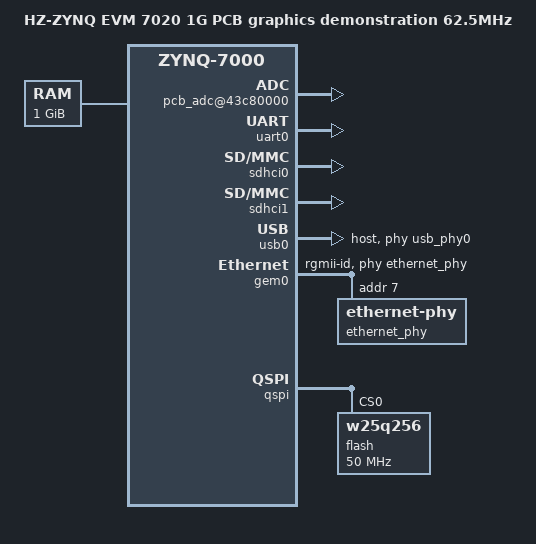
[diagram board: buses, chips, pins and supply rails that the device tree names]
/dts-v1/;
#include "zynq-7000.dtsi"

/* Independent PS + graphics + fixed HDMI + ADC design. No factory LCD/DVP graph.
 * Addresses below are from this project's validated address-map.txt.
 * Do not combine this DT with the factory bitstream or treat it as board-tested.
 */
/ {
 model = "HZ-ZYNQ EVM 7020 1G PCB graphics demonstration 62.5MHz";
 compatible = "xlnx,zynq-zc702", "xlnx,zynq-7000";
 chosen {
  bootargs = "console=ttyPS0,115200 cma=256M earlycon root=/dev/mmcblk0p2 rw rootwait";
  stdout-path = "serial0:115200n8";
 };
 aliases {ethernet0 = &gem0;serial0 = &uart0;spi0 = &qspi;};
 memory@0 {device_type = "memory";reg = <0 0x40000000>;};
 usb_phy0: phy@e0002000 {
  compatible = "ulpi-phy";#phy-cells = <0>;reg = <0xe0002000 0x1000>;
  view-port = <0x0170>;drv-vbus;
 };
 amba_pl {
  compatible = "simple-bus";#address-cells = <1>;#size-cells = <1>;ranges;
  pcb_graphics: graphics@43c00000 {
   compatible = "pcb,graphics-3.0";
   reg = <0x43c00000 0x10000>;
   interrupt-parent = <&intc>;interrupts = <0 29 4>;
   clocks = <&clkc 16>;clock-names = "aclk";
  };
  pcb_ai@43c40000 {compatible = "pcb,ai-1";reg = <0x43c40000 0x40000>;clocks = <&clkc 16>;clock-names = "aclk";};
  pcb_adc@43c80000 {compatible = "pcb,adc-1";reg = <0x43c80000 0x20000>;clocks = <&clkc 16>;clock-names = "aclk";};
  scanout_status: gpio@41200000 {
   compatible = "xlnx,axi-gpio-2.0", "xlnx,xps-gpio-1.00.a";
   reg = <0x41200000 0x10000>;clocks = <&clkc 16>;clock-names = "s_axi_aclk";
   gpio-controller;#gpio-cells = <2>;
   xlnx,is-dual = <1>;xlnx,gpio-width = <32>;xlnx,gpio2-width = <32>;
   xlnx,all-inputs = <1>;xlnx,all-inputs-2 = <1>;xlnx,interrupt-present = <0>;
  };
 };
};
&clkc {ps-clk-frequency = <33333333>;fclk-enable = <3>;};
&gpio0 {emio-gpio-width = <0>;gpio-mask-high = <0>;gpio-mask-low = <0x5600>;};
&i2c0 {status = "disabled";};
&i2c1 {status = "disabled";};
&uart0 {status = "okay";cts-override;port-number = <0>;};
&sdhci0 {status = "okay";xlnx,has-cd = <1>;xlnx,has-power = <0>;xlnx,has-wp = <0>;};
&sdhci1 {status = "okay";xlnx,has-cd = <0>;xlnx,has-power = <0>;xlnx,has-wp = <0>;};
&usb0 {status = "okay";phy_type = "ulpi";usb-reset = <&gpio0 9 0>;usb-phy = <&usb_phy0>;dr_mode = "host";};
&gem0 {
 status = "okay";phy-mode = "rgmii-id";phy-handle = <&ethernet_phy>;
 ethernet_phy: ethernet-phy@7 {reg = <7>;device_type = "ethernet-phy";};
};
&qspi {
 status = "okay";is-dual = <0>;num-cs = <1>;
 flash@0 {compatible = "w25q256", "jedec,spi-nor";reg = <0>;spi-max-frequency = <50000000>;};
};
